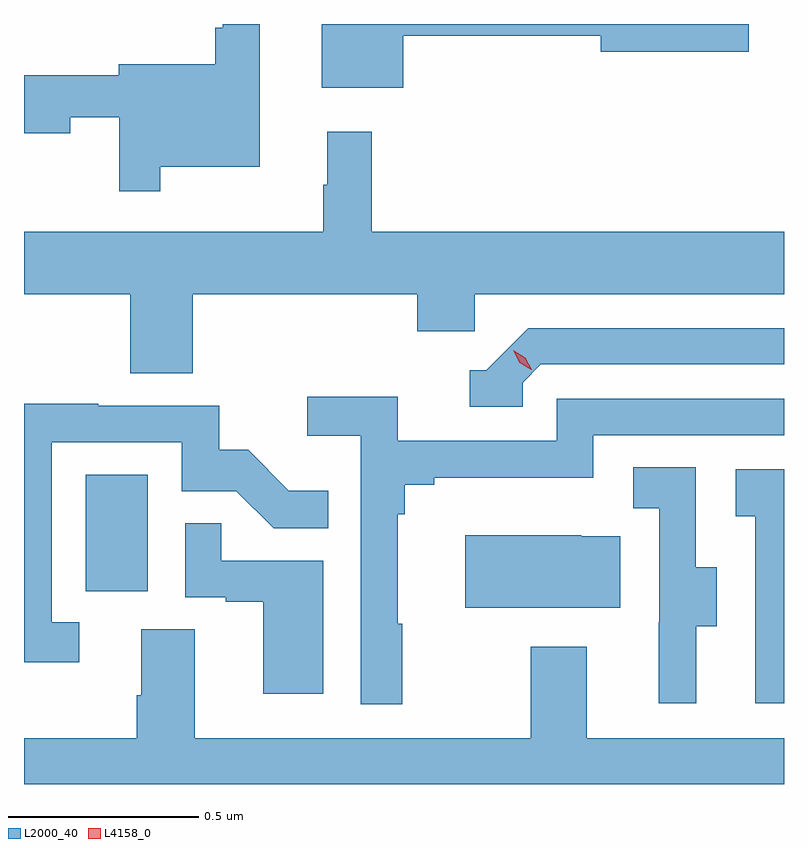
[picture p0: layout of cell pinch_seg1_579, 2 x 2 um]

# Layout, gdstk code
import gdstk
lib = gdstk.Library(unit=1e-6, precision=1e-09)
def R(c, l, rs):  # rectangles x0, y0, x1, y1
    for r in rs: c.add(gdstk.rectangle(r[:2], r[2:], *l))
def P(c, l, *ps):  # polygons
    for p in ps: c.add(gdstk.Polygon(p, *l))
L2000_40 = (2000, 40)
L4158_0 = (4158, 0)

pinch_seg1_579 = lib.new_cell('pinch_seg1_579')
R(pinch_seg1_579, L2000_40, [(1045.772,513.654,1045.936,513.961)])
P(pinch_seg1_579, L2000_40, [(1045.969,514.772),(1046.23,514.772),(1046.23,515.147),(1046.133,515.147),(1046.133,515.137),(1046.113,515.137),(1046.113,515.041),(1045.859,515.041),(1045.859,515.012),(1045.61,515.012),(1045.61,514.859),(1045.732,514.859),(1045.732,514.902),(1045.86,514.902),(1045.86,514.707),(1045.969,514.707)],
  [(1046.608,515.116),(1047.128,515.116),(1047.128,515.074),(1047.517,515.074),(1047.517,515.147),(1046.393,515.147),(1046.393,514.979),(1046.608,514.979)],
  [(1046.054,514.436),(1046.645,514.436),(1046.645,514.338),(1046.796,514.338),(1046.796,514.436),(1047.61,514.436),(1047.61,514.6),(1046.525,514.6),(1046.525,514.864),(1046.408,514.864),(1046.408,514.724),(1046.397,514.724),(1046.397,514.6),(1045.61,514.6),(1045.61,514.436),(1045.889,514.436),(1045.889,514.228),(1046.054,514.228)],
  [(1046.922,514.203),(1046.97,514.251),(1047.61,514.251),(1047.61,514.347),(1046.937,514.347),(1046.826,514.236),(1046.783,514.236),(1046.783,514.14),(1046.922,514.14)],
  [(1046.605,513.569),(1046.593,513.569),(1046.593,513.857),(1046.612,513.857),(1046.612,513.934),(1046.689,513.934),(1046.689,513.953),(1047.108,513.953),(1047.108,514.065),(1047.61,514.065),(1047.61,514.161),(1047.012,514.161),(1047.012,514.05),(1046.594,514.05),(1046.594,514.166),(1046.355,514.166),(1046.355,514.064),(1046.496,514.064),(1046.496,513.357),(1046.605,513.357)],
  [(1045.756,513.573),(1045.683,513.573),(1045.683,514.047),(1046.025,514.047),(1046.025,513.918),(1046.169,513.918),(1046.267,513.82),(1046.411,513.82),(1046.411,513.919),(1046.307,513.919),(1046.2,514.026),(1046.124,514.026),(1046.124,514.143),(1045.805,514.143),(1045.805,514.148),(1045.61,514.148),(1045.61,513.468),(1045.756,513.468)],
  [(1047.379,513.562),(1047.433,513.562),(1047.433,513.717),(1047.378,513.717),(1047.378,513.98),(1047.213,513.98),(1047.213,513.873),(1047.282,513.873),(1047.282,513.573),(1047.281,513.573),(1047.281,513.36),(1047.379,513.36)],
  [(1047.61,513.975),(1047.483,513.975),(1047.483,513.851),(1047.534,513.851),(1047.534,513.36),(1047.61,513.36)],
  [(1046.398,513.735),(1046.129,513.735),(1046.129,513.833),(1046.034,513.833),(1046.034,513.639),(1046.141,513.639),(1046.141,513.627),(1046.24,513.627),(1046.24,513.384),(1046.398,513.384)],
  [(1047.179,513.799),(1047.077,513.799),(1047.077,513.802),(1046.771,513.802),(1046.771,513.611),(1047.179,513.611)],
  [(1047.61,513.268),(1047.091,513.268),(1047.091,513.508),(1046.944,513.508),(1046.944,513.268),(1046.059,513.268),(1046.059,513.554),(1045.919,513.554),(1045.919,513.38),(1045.907,513.38),(1045.907,513.268),(1045.61,513.268),(1045.61,513.147),(1047.61,513.147)])
P(pinch_seg1_579, L4158_0, [(1046.945,514.237),(1046.915,514.256),(1046.898,514.288),(1046.898,514.289),(1046.898,514.289),(1046.929,514.269),(1046.946,514.237),(1046.946,514.237)])

lib.write_gds('pinch_seg1_579.gds')
